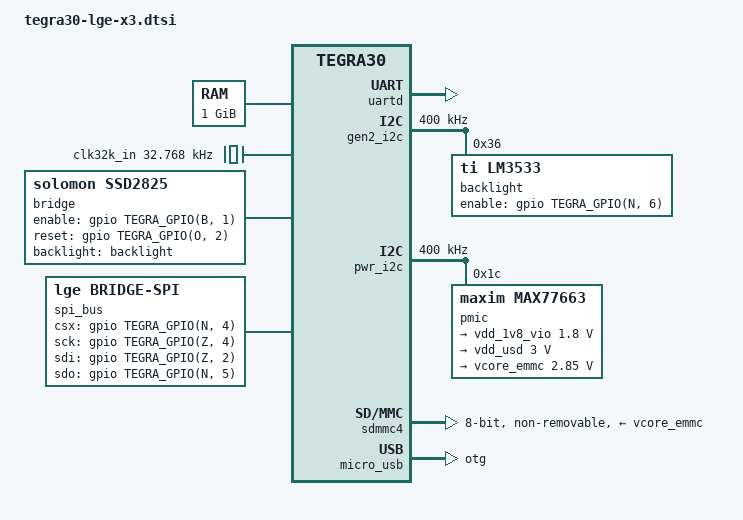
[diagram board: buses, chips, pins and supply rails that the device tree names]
// SPDX-License-Identifier: GPL-2.0-or-later

#include <dt-bindings/input/gpio-keys.h>
#include <dt-bindings/input/linux-event-codes.h>

#include "tegra30.dtsi"

/ {
	chosen {
		stdout-path = &uartd;
	};

	aliases {
		i2c0 = &pwr_i2c;
		i2c1 = &gen2_i2c;

		mmc0 = &sdmmc4;	/* eMMC */

		rtc0 = &pmic;
		rtc1 = "/rtc@7000e000";

		usb0 = &micro_usb;
	};

	memory {
		device_type = "memory";
		reg = <0x80000000 0x40000000>;
	};

	uartd: serial@70006300 {
		status = "okay";
	};

	gen2_i2c: i2c@7000c400 {
		status = "okay";
		clock-frequency = <400000>;

		backlight: lm3533@36 {
			compatible = "ti,lm3533";
			reg = <0x36>;

			enable-gpios = <&gpio TEGRA_GPIO(N, 6) GPIO_ACTIVE_HIGH>;
		};

		/* MUIC on 0x44 */
	};

	pwr_i2c: i2c@7000d000 {
		status = "okay";
		clock-frequency = <400000>;

		pmic: max77663@1c {
			compatible = "maxim,max77663";
			reg = <0x1c>;

			interrupts = <GIC_SPI 86 IRQ_TYPE_LEVEL_HIGH>;
			#interrupt-cells = <2>;
			interrupt-controller;

			#gpio-cells = <2>;
			gpio-controller;

			system-power-controller;

			regulators {
				vdd_1v8_vio: sd2 {
					regulator-name = "vdd_1v8_gen";
					regulator-min-microvolt = <1800000>;
					regulator-max-microvolt = <1800000>;
					regulator-always-on;
					regulator-boot-on;
				};

				vdd_usd: ldo3 {
					regulator-name = "vdd_sdmmc3";
					regulator-min-microvolt = <3000000>;
					regulator-max-microvolt = <3000000>;
					regulator-always-on;
					regulator-boot-on;
				};

				vcore_emmc: ldo5 {
					regulator-name = "vdd_ddr_rx";
					regulator-min-microvolt = <2850000>;
					regulator-max-microvolt = <2850000>;
					regulator-always-on;
					regulator-boot-on;
				};
			};
		};
	};

	sdmmc4: sdhci@78000600 {
		status = "okay";
		bus-width = <8>;
		non-removable;

		vmmc-supply = <&vcore_emmc>;
		vqmmc-supply = <&vdd_1v8_vio>;
	};

	micro_usb: usb@7d000000 {
		status = "okay";
		dr_mode = "otg";
	};

	clocks {
		compatible = "simple-bus";
		#address-cells = <1>;
		#size-cells = <0>;

		clk32k_in: clock@0 {
			compatible = "fixed-clock";
			reg=<0>;
			#clock-cells = <0>;
			clock-frequency = <32768>;
		};
	};

	gpio-keyboard {
		compatible = "gpio-kbd";

		key-power {
			label = "Power";
			gpios = <&gpio TEGRA_GPIO(C, 7) GPIO_ACTIVE_LOW>;
			linux,code = <KEY_ENTER>;
		};

		key-volume-down {
			label = "Volume Down";
			gpios = <&gpio TEGRA_GPIO(O, 4) GPIO_ACTIVE_LOW>;
			linux,code = <KEY_DOWN>;
		};
	};

	bridge: bridge {
		compatible = "solomon,ssd2825";

		enable-gpios = <&gpio TEGRA_GPIO(B, 1) GPIO_ACTIVE_HIGH>;
		reset-gpios = <&gpio TEGRA_GPIO(O, 2) GPIO_ACTIVE_HIGH>;

		panel = <&panel>;
		backlight = <&backlight>;
	};

	spi_bus: bridge-spi {
		compatible = "lge,bridge-spi";

		csx-gpios = <&gpio TEGRA_GPIO(N, 4) GPIO_ACTIVE_HIGH>;
		sck-gpios = <&gpio TEGRA_GPIO(Z, 4) GPIO_ACTIVE_HIGH>;
		sdi-gpios = <&gpio TEGRA_GPIO(Z, 2) GPIO_ACTIVE_HIGH>;
		sdo-gpios = <&gpio TEGRA_GPIO(N, 5) GPIO_ACTIVE_HIGH>;
	};
};
